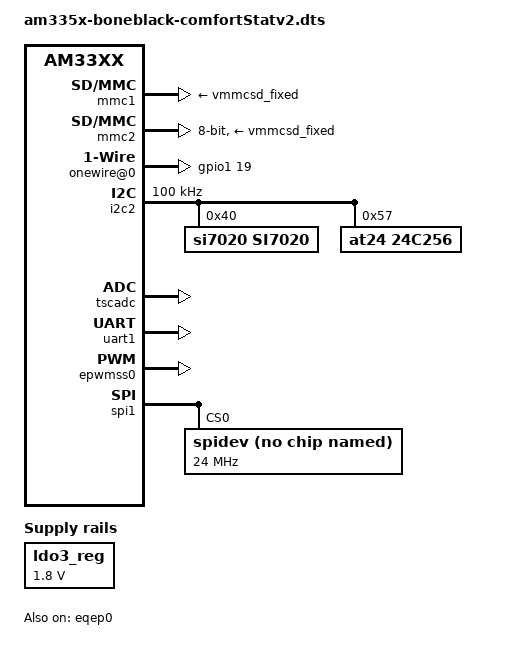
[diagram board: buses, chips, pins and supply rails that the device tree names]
/*
 * Copyright (C) 2012 Texas Instruments Incorporated - http://www.ti.com/
 *
 * This program is free software; you can redistribute it and/or modify
 * it under the terms of the GNU General Public License version 2 as
 * published by the Free Software Foundation.
 */
/dts-v1/;

#include "am33xx.dtsi"
#include "am335x-bone-common.dtsi"

&ldo3_reg {
	regulator-min-microvolt = <1800000>;
	regulator-max-microvolt = <1800000>;
	regulator-always-on;
};

&mmc1 {
	vmmc-supply = <&vmmcsd_fixed>;
};

&mmc2 {
	vmmc-supply = <&vmmcsd_fixed>;
	pinctrl-names = "default";
	pinctrl-0 = <&emmc_pins>;
	bus-width = <8>;
	ti,non-removable;
	status = "okay";
};

&am33xx_pinmux {
	cape_v1_gpio_pins: cape_v1_gpio_pins {
                pinctrl-single,pins = <
                    /***** P8 *****/
                    0x090 0x2f  /* Right btn (in,  mode 7) */
                    0x094 0x2f  /* dig therm (in,  mode 7) */
                    0x09c 0x2f  /* Left btn  (in,  mode 7) */
                    0x098 0x2f  /* Down btn  (in,  mode 7) */
                    0x034 0x2f  /* up btn    (in,  mode 7) */
                    0x030 0x2f  /* a btn     (in,  mode 7) */
                    0x024 0x0f  /* Cool S    (out, mode 7) */
                    0x028 0x0f  /* cool r    (out, mode 7) */
                    0x03c 0x0f  /* fan r     (out, mode 7) */
                    0x038 0x0f  /* fan s     (out, mode 7) */
                    0x02c 0x0f  /* head r    (out, mode 7) */
                    0x08c 0x0f  /* head s    (out, mode 7) */
                    /***** P9 *****/
                    0x154 0x2f  /* encode b  (in,  mode 7) */
                    0x150 0x2f  /* rfm_int   (in,  mode 7) */
                    0x044 0x0f  /* led r     (out, mode 7) */
                    0x1ac 0x0f  /* led g     (out, mode 7) */
                    0x1a4 0x0f  /* led b     (out, mode 7) */
                    /* spi.... */
                    0x190 0x33  /* sclk */
                    0x194 0x33  /* d0 in */
                    0x198 0x13  /* d1 out */
                    0x19C 0x13  /* cs0 */
                    /* adc .... */
                 /*   0x1a8 0x0f*/  /* encode a  (in,  mode 7) */
                 /*   0x1b4 0x0f*/
                 /*   0x1a0 0x0f*/  /* encode sw (in,  mode 7) */
                 /*   0x164 0x0f*/
                    0x17c 0x73  /* i2c2 scl */
                    0x178 0x73  /* i2c2 sda */
                >;
        };

	cape_v2_gpio_pins: cape_v2_gpio_pins {
		pinctrl-single,pins = <
                    /***** P8 *****/
                    0x090 0x0f  /* 7 - led b       (out,  mode 7) */
                    0x094 0x0f  /* 8 - led r       (out,  mode 7) */
                    0x09c 0x0f  /* 9 - led g       (out,  mode 7) */
                    0x098 0x0f  /* 10 - heat cntl  (out,  mode 7) */
                    0x030 0x0f  /* 12 - cool cntl  (out,  mode 7) */
                    0x028 0x0f  /* 14 - fan cntl   (out,  mode 7) */
                    0x038 0x0f  /* 16 - aux cntl   (out,  mode 7) */

                    /***** P9 *****/
                /*    0x04c 0x0f   16 - dig therm  (in,  mode 7) */
                    0x15c 0x2f  /* 17 - up btn     (in,  mode 7) */
                    0x158 0x2f  /* 18 - down btn   (in,  mode 7) */
                    0x150 0x2f  /* 22 - rfm_int    (in,  mode 7) */
                    /* spi.... */
                    /* adc .... */

                    /* eqep0 as GPIO */
               /*     0x1a4 0x2f   27 - encode b   (in , mode 1, eQEP0B) */
               /*     0x1a8 0x2f   41 - encode sw  (in,  mode 7) */
               /**    0x1b4 0x2f   41(shared) - defaulting to 0x3 - not used, set in safe input state */
               /**    0x1a0 0x31   42 - defaulting to 0x37 -  42 - encode a   (in,  mode 1, eQEP0A) */
               /*     0x164 0x2f   42(shared) - defaulting to 0x27 - not used, set in safe input state */

                    0x17c 0x73  /* i2c2 scl */
                    0x178 0x73  /* i2c2 sda */
		>;
	};
	i2c2_pins: i2c2_pins {
		pinctrl-single,pins = <
                    0x17c 0x73  /* i2c2 scl */
                    0x178 0x73  /* i2c2 sda */
		>;
	};
	uart1_pins: uart1_pins {
		pinctrl-single,pins = <
                    0x180 0x20  /* uart rx */
                    0x184 0x00  /* uart tx */
		>;
	};
	/* unused for now, done as a helper block of io */
	eqep0_pins: eqep0_pins {
		pinctrl-single,pins = <
                    0x1a4 0x29  /* 27 - encode b   (in , mode 1, eQEP0B) */
                    0x1a8 0x2f  /* 41 - encode sw (btn)  (in,  mode 7) */
                /*  0x1b4 0x2f     41(shared) - not used, set in safe input state */
                    0x1a0 0x29  /* 42 - encode a   (in,  mode 1, eQEP0A) */
                    0x164 0x2f  /* 42(shared) - not used, set in safe input state */
		>;
	};
	w1_gpio_pins: w1_gpio_pinsw1_gpio_pins {
		pinctrl-single,pins = <
                    0x04c 0x3F  /* P9-16 - NO OMAP_PIN_INPUT_PULLUP | OMAP_MUX_MODE7 */
		>;
	};
	spi1_pins: spi1_pins {
		pinctrl-single,pins = <
                    0x190 0x33 /* P9_31 = spi1_sclk, INPUT_PULLUP | MODE3 */
                    0x194 0x33 /* P9_29 = spi1_d0, INPUT_PULLUP | MODE3 */
                    0x198 0x13 /* P9_30 = spi1_d1, OUTPUT_PULLUP | MODE3 */
                    0x19c 0x13 /* P9_28 = spi1_cs0, OUTPUT_PULLUP | MODE3 */
		>;
	};
};

&ocp { /* does the ocp in the bone common file need ot be a reference to the dtsi ocp?????? trying to explain can't parse error.... */
	onewire@0 {
		compatible = "w1-gpio";
		pinctrl-names = "default";
		pinctrl-0 = <&w1_gpio_pins>;
		status = "okay";
		gpios = <&gpio1 19 0>; /* P9-16 - gpio1[19] */
	};
};

/*&ocp {
	pinmux_helper_capeio {
		compatible = "bone-pinmux-helper";
		status = "okay";
		pinctrl-names = "default";
		pinctrl-0 = <&cape_v2_gpio_pins>;
	};
};*/
	/* todo break out common io into peripheral helpers */

&i2c2 {
	pinctrl-names = "default";
	/*pinctrl-0 = <&i2c2_pins>;*/
	pinctrl-0 = <&cape_v2_gpio_pins>;
	clock-frequency = <100000>;
	status = "okay";
	#address-cells = <1>;
	#size-cells = <0>;
	/* temp and humidity sensor */
	/* v2 board only */
	si7020@40 {
	      compatible = "si7020,si7020";
	      reg = <0x40>;
	};
	/* eeprom */
	at24@57 {
	      compatible = "at24,24c256";
	      reg = <0x57>;
	};
};

&tscadc {
	status = "okay";

	adc {
		ti,adc-channels = <1>;
	};
};

/* lcd output */
&uart1 {
	pinctrl-names = "default";
	pinctrl-0 = <&uart1_pins>;
	status = "okay";
};

/* v2 board only */
&epwmss0 {
	status = "okay";
};

&eqep0 {
	pinctrl-names = "default";
	pinctrl-0 = <&eqep0_pins>;

	count_mode = <0>; /* 0 - Quadrature mode, normal 90 phase offset cha & chb. */
			  /* 1 - Direction mode. cha input = clock, chb input = direction */
	swap_inputs = <0>; /* Are channel A and channel B swapped? (0 - no, 1 - yes) */
	invert_qa = <0>; /* Should we invert the channel A input? */
	invert_qb = <0>; /* Should we invert the channel B input? */
	invert_qi = <0>; /* Should we invert the index input? */
	invert_qs = <0>; /* Should we invert the strobe input? */
	status = "okay";
};

&spi1 {
	#address-cells = <1>;
	#size-cells = <0>;
	status = "okay";
	pinctrl-names = "default";
	pinctrl-0 = <&spi1_pins>;
	ti,pindir-d0-out-d1-in = <1>; /* FLIPS D0 AND D1 io*/
	spidev@1 {
		spi-max-frequency = <24000000>;
		reg = <0>;
		compatible = "linux,spidev";
		/* Assuming mode 0 */
	};
};
